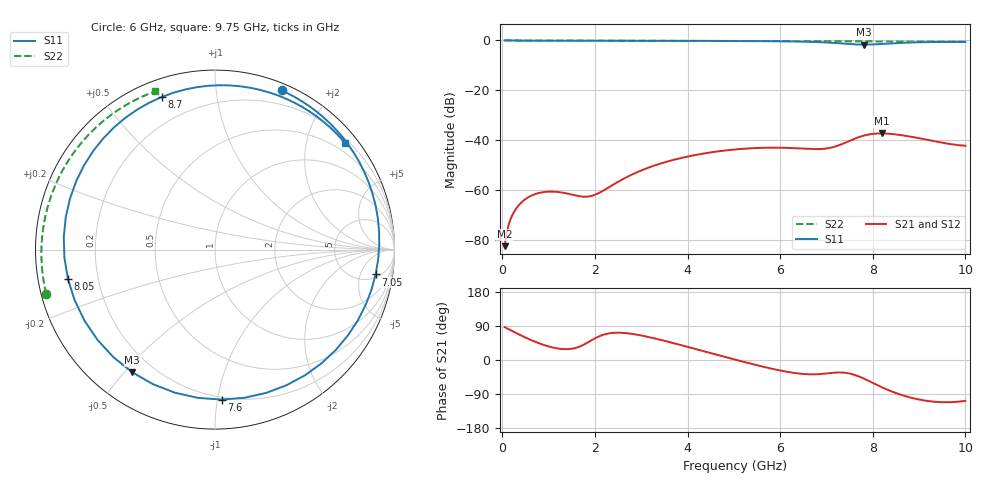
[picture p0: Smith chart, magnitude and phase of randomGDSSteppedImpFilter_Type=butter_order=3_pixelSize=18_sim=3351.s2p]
! freq	dB(S11)	phase(S11)	dB(S12)	phase(S12)
!  dB(S21)	phase(S21)	dB(S22)	phase(S22)
!S-par simulation data
#  GHz  S  DB  R 50
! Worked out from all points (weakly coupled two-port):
!   200 points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, 50 MHz to 10 GHz, reference 50 ohm
!   highest |S21| = -37.27 dB at 8.2 GHz (marker M1); lowest = -82.5 dB at 50 MHz (marker M2)
!   lowest |S11| = -1.7 dB at 7.8 GHz (marker M3), VSWR 10.39, Z = 6.15 - j26.2 ohm
!   |S11| at or under -10 dB: nowhere
!   |S22| runs from -0.5 to 0.0 dB; largest |S21 - S12| = 0
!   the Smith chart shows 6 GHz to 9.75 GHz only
!   S11 on the Smith chart (normalised r, x): 6 GHz: 0.06, +1.50; 7.05 GHz: 6, -9; 7.6 GHz: 0.18, -1.03; 8.05 GHz: 0.09, -0.10; 8.7 GHz: 0.08, +0.71; 9.75 GHz: 0.29, +2.77
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0.05  -0.00 -4.8  -82.48 86.8  -82.48 86.8  -0.00 -1.7
0.25  -0.03 -23.5  -68.84 74.2  -68.84 74.2  -0.01 -8.5
0.6  -0.07 -54.4  -62.48 53.8  -62.48 53.8  -0.03 -20.3
1.1  -0.10 -91.9  -60.61 32.7  -60.61 32.7  -0.05 -36.8
1.75  -0.11 -129.6  -62.63 39.8  -62.63 39.8  -0.07 -57.4
2.5  -0.12 -162.5  -56.68 72.1  -56.68 72.1  -0.10 -79.7
3.4  -0.14 164.9  -49.45 53.7  -49.45 53.7  -0.13 -104.3
4.2  -0.17 138.1  -45.82 28.2  -45.82 28.2  -0.16 -124.4
5.05  -0.22 108.1  -43.67 0.3  -43.67 0.3  -0.20 -144.3
6  -0.34 67.3  -43.00 -27.7  -43.00 -27.7  -0.25 -165.4
6.7  -0.59 23.6  -43.55 -37.9  -43.55 -37.9  -0.29 179.4
7.05  -0.86 -8.8  -43.17 -34.9  -43.17 -34.9  -0.32 171.8
7.3  -1.16 -39.7  -41.82 -33.0  -41.82 -33.0  -0.33 166.4
7.6  -1.55 -87.5  -39.47 -39.0  -39.47 -39.0  -0.36 159.9
7.8  -1.68 -124.1  -38.19 -48.7  -38.19 -48.7  -0.37 155.5
8.05  -1.56 -168.7  -37.37 -63.4  -37.37 -63.4  -0.39 150.0
8.2  -1.40 167.8  -37.27 -72.1  -37.27 -72.1  -0.40 146.6
8.35  -1.23 147.2  -37.40 -80.1  -37.40 -80.1  -0.41 143.3
8.7  -0.91 109.2  -38.20 -95.2  -38.20 -95.2  -0.44 135.4
9.15  -0.68 74.1  -39.74 -107.5  -39.74 -107.5  -0.47 125.0
9.75  -0.57 39.3  -41.75 -110.8  -41.75 -110.8  -0.52 110.8
10  -0.56 27.1  -42.20 -108.0  -42.20 -108.0  -0.53 104.7
